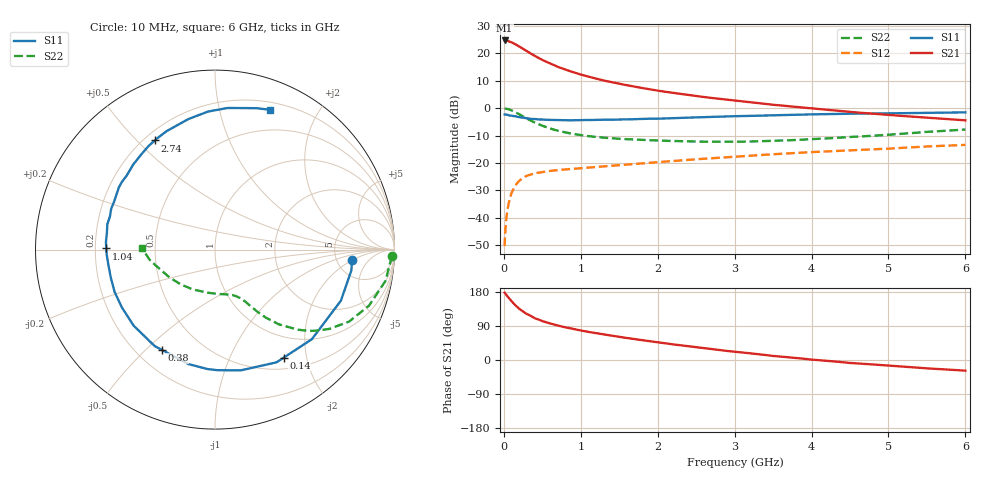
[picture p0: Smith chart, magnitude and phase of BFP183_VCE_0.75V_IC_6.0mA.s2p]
! Infineon Technologies  Discrete & RF Semiconductors
! BFP183
! VCE = 0.75V,  IC =  6.0 mA
! Common Emitter S-Parameters:  Jan 2016
# GHz  S  MA  R  50
!  f  S11  S21  S12  S22
! GHz  MAG  ANG  MAG  ANG  MAG  ANG  MAG  ANG
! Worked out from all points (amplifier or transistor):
!   210 points, 10 MHz to 6 GHz, reference 50 ohm
!   highest |S21| = 24.7 dB at 10 MHz (marker M1)
!   |S21| within 3 dB of that: start of sweep to 246.1 MHz
!   unconditionally stable (mu >= 1): 1.315 GHz to end of sweep
!   at 185 MHz: K = 0.20, MSG = 24.9 dB, |S12| = -27.0 dB
!   at 1.52 GHz: K = 1.09, MAG = 13.0 dB, |S12| = -20.8 dB
!   at 6 GHz: K = 1.07, MAG = 2.9 dB, |S12| = -13.4 dB
!   S11 on the Smith chart (normalised r, x): 10 MHz: 6.98, -1.99; 140 MHz: 0.66, -1.62; 380 MHz: 0.30, -0.56; 1.04 GHz: 0.25, +0.00; 2.74 GHz: 0.24, +0.57; 6 GHz: 0.27, +1.43
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0.01  0.7664 -4.4  17.27 177.7  0.003 88.0  0.9863 -2.1
0.05  0.7569 -22.1  17 167.1  0.0146 80.2  0.9664 -10.3
0.1  0.7352 -42.8  16.02 155.1  0.0281 69.0  0.9133 -20.0
0.14  0.7133 -57.6  14.96 146.6  0.0366 62.1  0.8597 -26.5
0.15  0.7155 -61.4  14.76 144.3  0.0388 60.8  0.8482 -28.2
0.2  0.6879 -77.9  13.48 135.1  0.047 54.0  0.7758 -34.7
0.24  0.6721 -88.8  12.38 129.0  0.052 49.2  0.7184 -39.0
0.3  0.6547 -103.0  11 121.3  0.0581 44.5  0.6425 -44.0
0.38  0.6324 -118.1  9.407 113.0  0.0631 39.6  0.566 -48.3
0.4  0.6339 -122.0  9.045 110.5  0.0644 38.5  0.5475 -49.5
0.5  0.6206 -136.9  7.585 102.6  0.0681 34.7  0.4762 -53.1
0.6  0.6108 -148.1  6.568 96.3  0.0713 32.2  0.424 -55.5
0.8  0.6011 -165.0  5.067 86.1  0.0759 30.0  0.3597 -58.5
1.02  0.6053 -179.4  4.038 77.2  0.0803 29.3  0.3187 -61.2
1.04  0.6059 179.4  3.969 76.4  0.0808 29.3  0.316 -61.4
1.5  0.6215 158.5  2.79 60.9  0.0906 29.7  0.2746 -67.8
2.02  0.6431 139.5  2.067 46.2  0.1036 30.0  0.2552 -77.6
2.74  0.6943 118.8  1.514 27.7  0.1226 28.8  0.2435 -96.0
3.1  0.7164 110.2  1.327 19.7  0.1323 27.4  0.2438 -106.7
4.1  0.7732 91.3  0.963 -0.5  0.1596 22.3  0.2752 -137.3
5.1  0.8065 77.9  0.733 -16.2  0.1852 17.1  0.3338 -162.8
6  0.8373 68.5  0.599 -28.2  0.2129 9.9  0.4075 179.0
